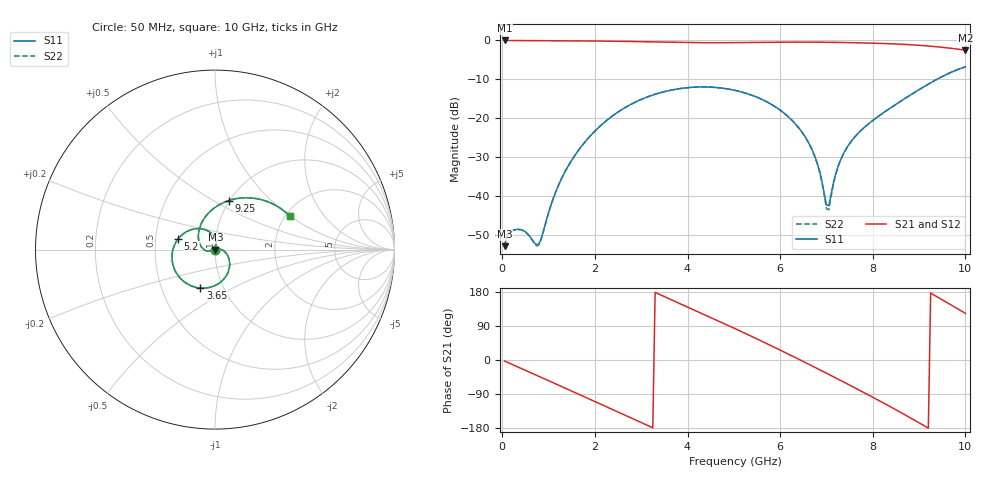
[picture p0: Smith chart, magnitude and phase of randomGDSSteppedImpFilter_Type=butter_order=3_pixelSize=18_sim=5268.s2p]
! freq	dB(S11)	phase(S11)	dB(S12)	phase(S12)
!  dB(S21)	phase(S21)	dB(S22)	phase(S22)
!S-par simulation data
#  GHz  S  DB  R 50
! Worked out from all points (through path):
!   200 points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, 50 MHz to 10 GHz, reference 50 ohm
!   highest |S21| = -0.02 dB at 50 MHz (marker M1); lowest = -2.5 dB at 10 GHz (marker M2)
!   group delay of S21, straight-line fit = 163 ps
!   lowest |S11| = -53.0 dB at 50 MHz (marker M3), VSWR 1.00, Z = 50.2 - j0.0393 ohm
!   |S11| at or under -10 dB: start of sweep to 9.39 GHz
!   |S22| runs from -53.0 to -6.8 dB; largest |S21 - S12| = 0
!   S11 on the Smith chart (normalised r, x): 50 MHz: 1.00, -0.00; 3.65 GHz: 0.78, -0.35; 5.2 GHz: 0.66, +0.08; 9.25 GHz: 0.99, +0.59; 10 GHz: 2.10, +1.00
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0.05  -53.00 -10.1  -0.02 -2.8  -0.02 -2.8  -53.00 -10.0
0.1  -50.16 -18.4  -0.03 -5.5  -0.03 -5.5  -50.16 -18.3
0.3  -48.70 -45.9  -0.05 -16.4  -0.05 -16.4  -48.73 -46.0
0.8  -52.20 -16.9  -0.08 -43.7  -0.08 -43.7  -52.52 -15.7
1.2  -37.69 18.3  -0.10 -65.6  -0.10 -65.6  -37.70 19.2
1.75  -26.68 -6.4  -0.14 -95.8  -0.14 -95.8  -26.67 -5.8
2.65  -17.33 -55.4  -0.27 -145.6  -0.27 -145.6  -17.32 -55.0
3.4  -13.52 -97.0  -0.45 172.8  -0.45 172.8  -13.52 -96.7
3.65  -12.80 -110.7  -0.50 159.1  -0.50 159.1  -12.80 -110.4
4.4  -12.00 -151.7  -0.61 117.8  -0.61 117.8  -12.00 -151.5
5.05  -12.95 172.2  -0.58 81.4  -0.58 81.4  -12.95 172.4
5.2  -13.40 163.8  -0.57 72.9  -0.57 72.9  -13.40 164.0
6  -17.96 117.6  -0.47 26.2  -0.47 26.2  -17.97 117.7
6.7  -28.46 80.6  -0.45 -16.2  -0.45 -16.2  -28.49 79.8
7.05  -42.59 156.0  -0.49 -37.9  -0.49 -37.9  -43.62 158.4
7.2  -34.36 -164.2  -0.51 -47.3  -0.51 -47.3  -34.54 -161.3
7.45  -27.45 -169.3  -0.57 -63.0  -0.57 -63.0  -27.50 -167.6
7.9  -21.56 164.0  -0.69 -91.8  -0.69 -91.8  -21.59 165.2
8.35  -17.65 134.1  -0.86 -121.3  -0.86 -121.3  -17.67 134.9
8.8  -14.17 104.0  -1.11 -151.9  -1.11 -151.9  -14.18 104.5
9.25  -10.92 74.2  -1.50 176.7  -1.50 176.7  -10.93 74.4
10  -6.81 24.3  -2.51 123.2  -2.51 123.2  -6.81 24.3
